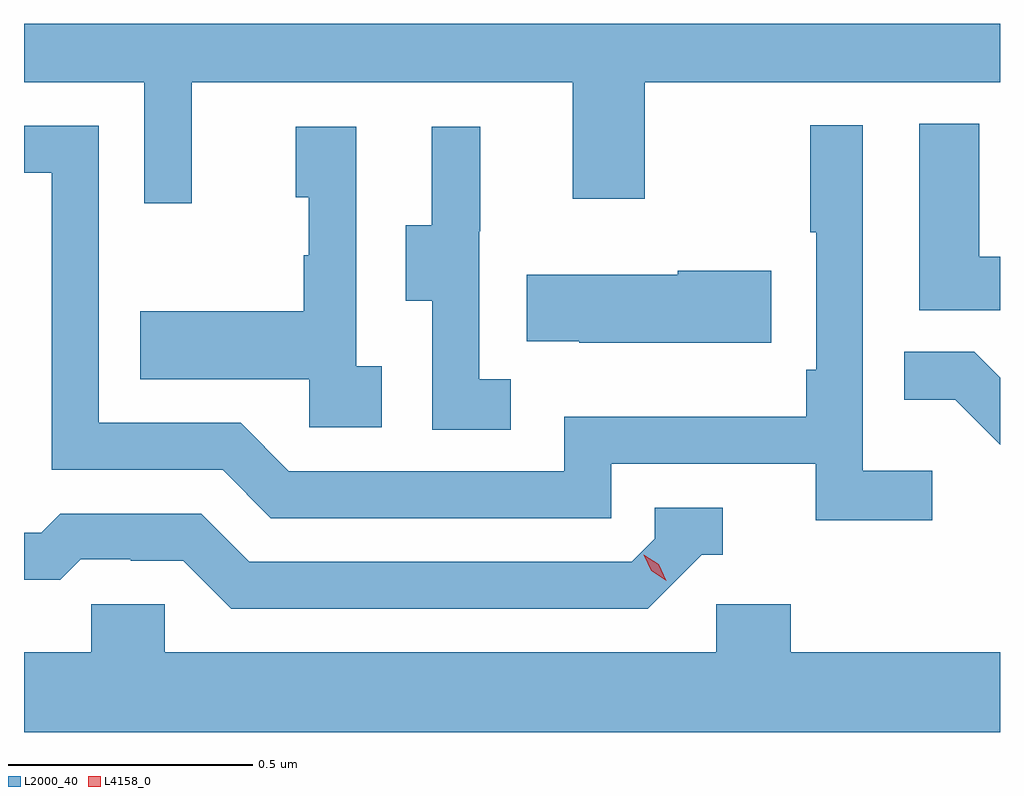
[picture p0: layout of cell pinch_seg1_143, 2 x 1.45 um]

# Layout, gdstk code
import gdstk
lib = gdstk.Library(unit=1e-6, precision=1e-09)
def P(c, l, *ps):  # polygons
    for p in ps: c.add(gdstk.Polygon(p, *l))
L2000_40 = (2000, 40)
L4158_0 = (4158, 0)

pinch_seg1_143 = lib.new_cell('pinch_seg1_143')
P(pinch_seg1_143, L2000_40, [(1032.113,550.4),(1032.893,550.4),(1032.893,550.161),(1033.041,550.161),(1033.041,550.4),(1033.769,550.4),(1033.769,550.52),(1031.769,550.52),(1031.769,550.4),(1032.015,550.4),(1032.015,550.152),(1032.113,550.152)],
  [(1033.769,550.042),(1033.726,550.042),(1033.726,550.315),(1033.604,550.315),(1033.604,549.933),(1033.769,549.933)],
  [(1033.63,549.604),(1033.488,549.604),(1033.488,550.312),(1033.38,550.312),(1033.38,550.093),(1033.392,550.093),(1033.392,549.811),(1033.372,549.811),(1033.372,549.715),(1032.876,549.715),(1032.876,549.603),(1032.312,549.603),(1032.213,549.702),(1031.922,549.702),(1031.922,550.311),(1031.769,550.311),(1031.769,550.215),(1031.826,550.215),(1031.826,549.606),(1032.176,549.606),(1032.275,549.507),(1032.972,549.507),(1032.972,549.618),(1033.391,549.618),(1033.391,549.502),(1033.63,549.502)],
  [(1032.502,549.818),(1032.45,549.818),(1032.45,550.309),(1032.326,550.309),(1032.326,550.164),(1032.352,550.164),(1032.352,550.046),(1032.342,550.046),(1032.342,549.931),(1032.007,549.931),(1032.007,549.791),(1032.354,549.791),(1032.354,549.693),(1032.502,549.693)],
  [(1032.766,549.791),(1032.702,549.791),(1032.702,550.095),(1032.704,550.095),(1032.704,550.309),(1032.605,550.309),(1032.605,550.107),(1032.551,550.107),(1032.551,549.952),(1032.606,549.952),(1032.606,549.688),(1032.766,549.688)],
  [(1033.3,550.014),(1033.109,550.014),(1033.109,550.006),(1032.799,550.006),(1032.799,549.869),(1032.907,549.869),(1032.907,549.866),(1033.3,549.866)],
  [(1033.769,549.795),(1033.716,549.848),(1033.573,549.848),(1033.573,549.749),(1033.677,549.749),(1033.769,549.657)],
  [(1033.158,549.432),(1033.201,549.432),(1033.201,549.528),(1033.062,549.528),(1033.062,549.465),(1033.014,549.417),(1032.231,549.417),(1032.132,549.516),(1031.843,549.516),(1031.804,549.477),(1031.769,549.477),(1031.769,549.381),(1031.843,549.381),(1031.885,549.423),(1031.988,549.423),(1031.988,549.42),(1032.095,549.42),(1032.194,549.321),(1033.047,549.321)],
  [(1033.769,549.232),(1033.34,549.232),(1033.34,549.33),(1033.188,549.33),(1033.188,549.232),(1032.057,549.232),(1032.057,549.33),(1031.907,549.33),(1031.907,549.232),(1031.769,549.232),(1031.769,549.068),(1033.769,549.068)])
P(pinch_seg1_143, L4158_0, [(1033.085,549.379),(1033.054,549.399),(1033.039,549.432),(1033.039,549.432),(1033.039,549.432),(1033.07,549.412),(1033.085,549.379),(1033.085,549.379)])

lib.write_gds('pinch_seg1_143.gds')
